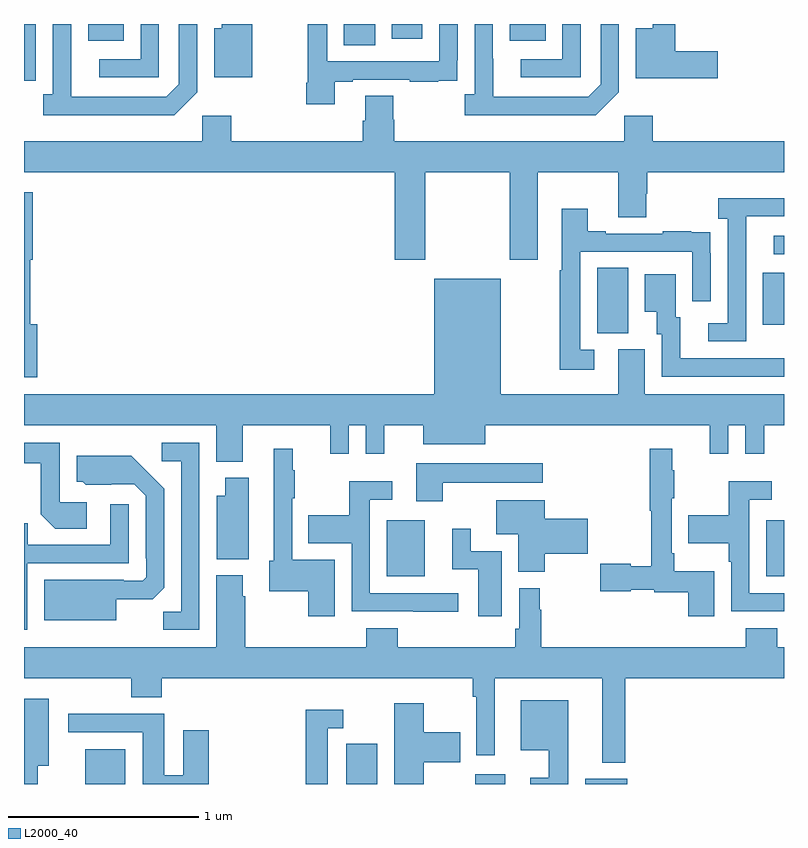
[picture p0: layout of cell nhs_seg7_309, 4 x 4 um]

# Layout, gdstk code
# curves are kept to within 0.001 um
import gdstk
lib = gdstk.Library(unit=1e-6, precision=1e-09)
def R(c, l, rs):  # rectangles x0, y0, x1, y1
    for r in rs: c.add(gdstk.rectangle(r[:2], r[2:], *l))
def P(c, l, *ps):  # polygons
    for p in ps: c.add(gdstk.Polygon(p, *l))
L2000_40 = (2000, 40)

nhs_seg7_309 = lib.new_cell('nhs_seg7_309')
R(nhs_seg7_309, L2000_40, [(133.322,1060,133.534,1060.183), (134.696,1060,134.86,1060.213), (135.374,1060,135.532,1060.051), (135.953,1060,136.176,1060.027), (134.909,1061.093,135.109,1061.389), (136.907,1061.093,137,1061.389), (136.016,1062.373,136.18,1062.716), (136.889,1062.417,137,1062.691), (136.947,1062.789,137,1062.885), (134.684,1063.888,134.848,1064), (133.337,1063.913,133.525,1064), (135.557,1063.913,135.745,1064), (134.936,1063.923,135.097,1064)])
P(nhs_seg7_309, L2000_40, [(133.71,1064),(133.614,1064),(133.614,1063.815),(133.395,1063.815),(133.395,1063.719),(133.71,1063.719)],
  [(133.911,1063.641),(133.911,1064),(133.815,1064),(133.815,1063.683),(133.749,1063.617),(133.249,1063.617),(133.248,1064),(133.152,1064),(133.152,1063.63),(133.101,1063.63),(133.101,1063.52),(133.79,1063.52)],
  [(136.131,1063.641),(136.131,1064),(136.035,1064),(136.035,1063.683),(135.969,1063.617),(135.469,1063.617),(135.468,1064),(135.372,1064),(135.372,1063.63),(135.321,1063.63),(135.321,1063.52),(136.01,1063.52)],
  [(135.93,1064),(135.834,1064),(135.834,1063.815),(135.615,1063.815),(135.615,1063.719),(135.93,1063.719)],
  [(136.651,1063.856),(136.427,1063.856),(136.427,1064),(136.31,1064),(136.31,1063.978),(136.22,1063.978),(136.22,1063.714),(136.651,1063.714)],
  [(134.635,1063.695),(134.731,1063.695),(134.731,1063.707),(135.031,1063.707),(135.031,1063.695),(135.179,1063.695),(135.179,1063.701),(135.281,1063.701),(135.281,1063.81),(135.282,1063.81),(135.282,1064),(135.186,1064),(135.186,1063.803),(134.595,1063.803),(134.595,1064),(134.494,1064),(134.494,1063.69),(134.486,1063.69),(134.486,1063.578),(134.635,1063.578)],
  [(133.061,1063.81),(133.062,1063.81),(133.062,1064),(133,1064),(133,1063.701),(133.061,1063.701)],
  [(134.2,1064),(134.042,1064),(134.042,1063.978),(134,1063.978),(134,1063.721),(134.2,1063.721)],
  [(134.948,1063.497),(134.943,1063.497),(134.943,1063.622),(134.795,1063.622),(134.795,1063.49),(134.783,1063.49),(134.783,1063.384),(134.09,1063.384),(134.09,1063.516),(133.938,1063.516),(133.938,1063.384),(133,1063.384),(133,1063.22),(134.951,1063.22),(134.951,1062.759),(135.111,1062.759),(135.111,1063.22),(135.556,1063.22),(135.556,1062.759),(135.703,1062.759),(135.703,1063.22),(136.127,1063.22),(136.127,1062.982),(136.275,1062.982),(136.275,1063.107),(136.28,1063.107),(136.28,1063.22),(137,1063.22),(137,1063.384),(136.31,1063.384),(136.31,1063.516),(136.158,1063.516),(136.158,1063.384),(134.948,1063.384)],
  [(133.07,1062.42),(133.033,1062.42),(133.033,1062.758),(133.046,1062.758),(133.046,1063.114),(133,1063.114),(133,1062.141),(133.07,1062.141)],
  [(136.8,1062.787),(136.801,1062.787),(136.801,1062.987),(137,1062.987),(137,1063.084),(136.653,1063.084),(136.653,1062.974),(136.704,1062.974),(136.704,1062.426),(136.602,1062.426),(136.602,1062.33),(136.8,1062.33)],
  [(136,1062.285),(135.927,1062.285),(135.927,1062.801),(136.518,1062.801),(136.518,1062.54),(136.614,1062.54),(136.614,1062.794),(136.613,1062.794),(136.613,1062.903),(136.511,1062.903),(136.511,1062.91),(136.363,1062.91),(136.363,1062.897),(136.063,1062.897),(136.063,1062.91),(135.967,1062.91),(135.967,1063.027),(135.831,1063.027),(135.831,1062.704),(135.819,1062.704),(135.819,1062.18),(136,1062.18)],
  [(137,1062.241),(136.937,1062.241),(136.937,1062.24),(136.453,1062.24),(136.453,1062.456),(136.429,1062.456),(136.429,1062.682),(136.268,1062.682),(136.268,1062.485),(136.331,1062.485),(136.331,1062.366),(136.356,1062.366),(136.356,1062.144),(137,1062.144)],
  [(136.267,1062.288),(136.127,1062.288),(136.127,1062.052),(135.508,1062.052),(135.508,1062.658),(135.158,1062.658),(135.158,1062.052),(133,1062.052),(133,1061.888),(134.012,1061.888),(134.012,1061.696),(134.152,1061.696),(134.152,1061.888),(134.612,1061.888),(134.612,1061.739),(134.709,1061.739),(134.709,1061.888),(134.799,1061.888),(134.799,1061.739),(134.897,1061.739),(134.897,1061.888),(135.101,1061.888),(135.101,1061.789),(135.427,1061.789),(135.427,1061.888),(136.61,1061.888),(136.61,1061.739),(136.707,1061.739),(136.707,1061.888),(136.797,1061.888),(136.797,1061.739),(136.895,1061.739),(136.895,1061.888),(137,1061.888),(137,1062.052),(136.267,1062.052)],
  [(133.923,1061.796),(133.725,1061.796),(133.725,1061.7),(133.827,1061.7),(133.827,1060.907),(133.732,1060.907),(133.732,1060.812),(133.923,1060.812)],
  [(133.33,1061.484),(133.188,1061.484),(133.188,1061.796),(133,1061.796),(133,1061.688),(133.089,1061.688),(133.089,1061.42),(133.165,1061.344),(133.33,1061.344)],
  [(136.633,1061.119),(136.423,1061.119),(136.423,1061.215),(136.41,1061.215),(136.41,1061.503),(136.423,1061.503),(136.423,1061.651),(136.412,1061.651),(136.412,1061.764),(136.294,1061.764),(136.294,1061.439),(136.302,1061.439),(136.302,1061.146),(136.194,1061.146),(136.194,1061.158),(136.032,1061.158),(136.032,1061.014),(136.194,1061.014),(136.194,1061.022),(136.317,1061.022),(136.317,1061.01),(136.495,1061.01),(136.495,1060.884),(136.633,1060.884)],
  [(134.635,1061.179),(134.412,1061.179),(134.412,1061.503),(134.425,1061.503),(134.425,1061.651),(134.414,1061.651),(134.414,1061.764),(134.315,1061.764),(134.315,1061.175),(134.291,1061.175),(134.291,1061.014),(134.497,1061.014),(134.497,1060.884),(134.635,1060.884)],
  [(133.486,1060.973),(133.678,1060.973),(133.737,1061.032),(133.737,1061.554),(133.565,1061.728),(133.277,1061.728),(133.277,1061.592),(133.308,1061.592),(133.324,1061.576),(133.581,1061.577),(133.641,1061.517),(133.641,1061.188),(133.644,1061.188),(133.644,1061.088),(133.626,1061.07),(133.526,1061.07),(133.526,1061.074),(133.106,1061.074),(133.106,1060.862),(133.486,1060.862)],
  [(135.205,1061.585),(135.73,1061.585),(135.73,1061.689),(135.065,1061.689),(135.065,1061.487),(135.205,1061.487)],
  [(134.182,1061.611),(134.06,1061.611),(134.06,1061.518),(134.015,1061.518),(134.015,1061.183),(134.182,1061.183)],
  [(137,1061.004),(136.818,1061.004),(136.818,1061.496),(136.936,1061.496),(136.936,1061.593),(136.71,1061.593),(136.71,1061.415),(136.495,1061.415),(136.495,1061.267),(136.71,1061.267),(136.71,1061.171),(136.722,1061.171),(136.722,1060.908),(137,1060.908)],
  [(135.286,1061.004),(134.82,1061.004),(134.82,1061.496),(134.938,1061.496),(134.938,1061.593),(134.712,1061.593),(134.712,1061.415),(134.497,1061.415),(134.497,1061.267),(134.724,1061.267),(134.724,1060.908),(135.049,1060.908),(135.049,1060.907),(135.286,1060.907)],
  [(135.742,1061.213),(135.967,1061.213),(135.967,1061.396),(135.742,1061.396),(135.742,1061.494),(135.485,1061.494),(135.485,1061.315),(135.602,1061.315),(135.602,1061.118),(135.742,1061.118)],
  [(133.017,1061.163),(133.551,1061.163),(133.551,1061.473),(133.455,1061.473),(133.455,1061.259),(133.019,1061.259),(133.019,1061.372),(133,1061.372),(133,1060.812),(133.017,1060.812)],
  [(135.514,1061.226),(135.352,1061.226),(135.352,1061.344),(135.254,1061.344),(135.254,1061.13),(135.392,1061.13),(135.392,1060.884),(135.514,1060.884)],
  [(136.165,1060.556),(137,1060.556),(137,1060.72),(136.964,1060.72),(136.964,1060.819),(136.799,1060.819),(136.799,1060.72),(135.722,1060.72),(135.722,1060.916),(135.715,1060.916),(135.715,1061.029),(135.606,1061.029),(135.606,1060.816),(135.586,1060.816),(135.586,1060.72),(134.966,1060.72),(134.966,1060.819),(134.801,1060.819),(134.801,1060.72),(134.165,1060.72),(134.165,1060.988),(134.152,1060.988),(134.152,1061.098),(134.012,1061.098),(134.012,1060.72),(133,1060.72),(133,1060.556),(133.564,1060.556),(133.564,1060.457),(133.724,1060.457),(133.724,1060.556),(135.361,1060.556),(135.361,1060.46),(135.381,1060.46),(135.381,1060.152),(135.478,1060.152),(135.478,1060.556),(136.043,1060.556),(136.043,1060.112),(136.165,1060.112)],
  [(133.072,1060.097),(133.129,1060.097),(133.129,1060.45),(133,1060.45),(133,1060),(133.072,1060)],
  [(135.865,1060.441),(135.614,1060.441),(135.614,1060.178),(135.761,1060.178),(135.761,1060.033),(135.665,1060.033),(135.665,1060),(135.865,1060)],
  [(135.103,1060.115),(135.296,1060.115),(135.296,1060.273),(135.103,1060.273),(135.103,1060.426),(134.948,1060.426),(134.948,1060),(135.103,1060)],
  [(134.598,1060.293),(134.68,1060.293),(134.68,1060.39),(134.482,1060.39),(134.482,1060),(134.598,1060)],
  [(133.973,1060.282),(133.838,1060.282),(133.838,1060.046),(133.738,1060.046),(133.738,1060.37),(133.233,1060.37),(133.233,1060.272),(133.625,1060.272),(133.625,1060),(133.973,1060)])

lib.write_gds('nhs_seg7_309.gds')
